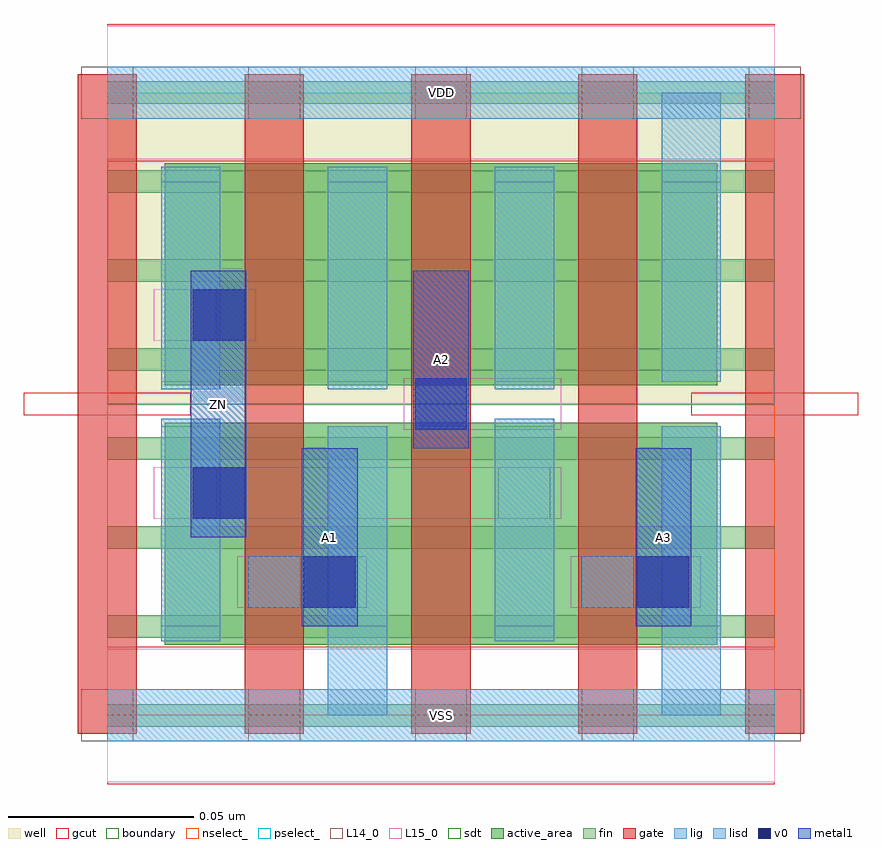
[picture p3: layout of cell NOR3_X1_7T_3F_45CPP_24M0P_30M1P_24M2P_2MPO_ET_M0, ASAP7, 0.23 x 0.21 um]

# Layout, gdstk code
import gdstk
lib = gdstk.Library(unit=1e-6, precision=2.5e-10)
def R(c, l, rs):  # rectangles x0, y0, x1, y1
    for r in rs: c.add(gdstk.rectangle(r[:2], r[2:], *l))
def A(c, l, x, y, w, h, nx, ny, dx, dy):  # array of equal rectangles
    R(c, l, [(x+i*dx, y+j*dy, x+i*dx+w, y+j*dy+h) for i in range(nx) for j in range(ny)])
well = (1, 0)
fin = (2, 0)
gate = (7, 0)
gcut = (10, 0)
active_area = (11, 0)
nselect_ = (12, 0)
pselect_ = (13, 0)
L14_0 = (14, 0)
L15_0 = (15, 0)
lig = (16, 0)
lisd = (17, 0)
v0 = (18, 0)
metal1 = (19, 0)
sdt = (88, 0)
boundary = (100, 0)

nor3_x1_7t_3f_45cpp_24m0 = lib.new_cell('NOR3_X1_7T_3F_45CPP_24M0P_30M1P_24M2P_2MPO_ET_M0')
R(nor3_x1_7t_3f_45cpp_24m0, well, [(0,0.084,0.18,0.168)])
A(nor3_x1_7t_3f_45cpp_24m0, fin, 0, -0.003, 0.18, 0.006, 1, 8, 0, 0.024)
A(nor3_x1_7t_3f_45cpp_24m0, gate, -0.008, -0.005, 0.016, 0.178, 5, 1, 0.045, 0)
R(nor3_x1_7t_3f_45cpp_24m0, gcut, [(0,-0.0185,0.18,0.0185), (-0.0225,0.081,0.0225,0.087), (0.1575,0.081,0.2025,0.087), (0,0.1495,0.18,0.1865)])
A(nor3_x1_7t_3f_45cpp_24m0, active_area, 0.0155, 0.019, 0.059, 0.06, 3, 2, 0.045, 0.07)
R(nor3_x1_7t_3f_45cpp_24m0, nselect_, [(0,0,0.18,0.084)])
R(nor3_x1_7t_3f_45cpp_24m0, pselect_, [(0,0.084,0.18,0.168)])
A(nor3_x1_7t_3f_45cpp_24m0, L14_0, -0.007, -0.007, 0.014, 0.014, 5, 2, 0.045, 0.168)
R(nor3_x1_7t_3f_45cpp_24m0, L14_0, [(0.038,0.029,0.052,0.043), (0.128,0.029,0.142,0.043), (0.0155,0.053,0.0295,0.067), (0.1055,0.053,0.1195,0.067), (0.083,0.077,0.097,0.091), (0.0155,0.101,0.0295,0.115)])
R(nor3_x1_7t_3f_45cpp_24m0, L15_0, [(0,-0.018,0.18,0.018), (0.035,0.029,0.07,0.043), (0.125,0.029,0.16,0.043), (0.0125,0.053,0.1225,0.067), (0.08,0.077,0.1225,0.091), (0.0125,0.101,0.04,0.115), (0,0.15,0.18,0.186)])
R(nor3_x1_7t_3f_45cpp_24m0, lig, [(0,-0.007,0.18,0.007), (0.038,0.029,0.052,0.043), (0.128,0.029,0.142,0.043), (0.083,0.077,0.097,0.091), (0,0.161,0.18,0.175)])
A(nor3_x1_7t_3f_45cpp_24m0, lisd, 0.0145, 0.088, 0.016, 0.06, 3, 1, 0.045, 0)
R(nor3_x1_7t_3f_45cpp_24m0, lisd, [(0.0595,0,0.0755,0.078), (0.1495,0,0.1655,0.078), (0.0145,0.02,0.0305,0.08), (0.1045,0.02,0.1205,0.08), (0.1495,0.09,0.1655,0.168)])
R(nor3_x1_7t_3f_45cpp_24m0, v0, [(0.053,0.029,0.067,0.043), (0.143,0.029,0.157,0.043), (0.023,0.053,0.037,0.067), (0.083,0.077,0.097,0.091), (0.023,0.101,0.037,0.115)])
R(nor3_x1_7t_3f_45cpp_24m0, metal1, [(0.0525,0.024,0.0675,0.072), (0.1425,0.024,0.1575,0.072), (0.0225,0.048,0.0375,0.12), (0.0825,0.072,0.0975,0.12)])
A(nor3_x1_7t_3f_45cpp_24m0, sdt, 0.0145, 0.024, 0.016, 0.054, 4, 2, 0.045, 0.066)
R(nor3_x1_7t_3f_45cpp_24m0, boundary, [(0,0,0.18,0.168)])
nor3_x1_7t_3f_45cpp_24m0.add(gdstk.Label('A3', (0.15,0.048), layer=19, texttype=251))
nor3_x1_7t_3f_45cpp_24m0.add(gdstk.Label('A2', (0.09,0.096), layer=19, texttype=251))
nor3_x1_7t_3f_45cpp_24m0.add(gdstk.Label('A1', (0.06,0.048), layer=19, texttype=251))
nor3_x1_7t_3f_45cpp_24m0.add(gdstk.Label('ZN', (0.03,0.084), layer=19, texttype=251))
nor3_x1_7t_3f_45cpp_24m0.add(gdstk.Label('VDD', (0.09,0.168), layer=15, texttype=251))
nor3_x1_7t_3f_45cpp_24m0.add(gdstk.Label('VSS', (0.09,0), layer=15, texttype=251))
nor3_x1_7t_3f_45cpp_24m0.add(gdstk.Label('VDD', (0.09,0.168), layer=1, texttype=251))
nor3_x1_7t_3f_45cpp_24m0.add(gdstk.Label('VSS', (0.09,0), layer=3, texttype=251))

lib.write_gds('NOR3_X1_7T_3F_45CPP_24M0P_30M1P_24M2P_2MPO_ET_M0.gds')
